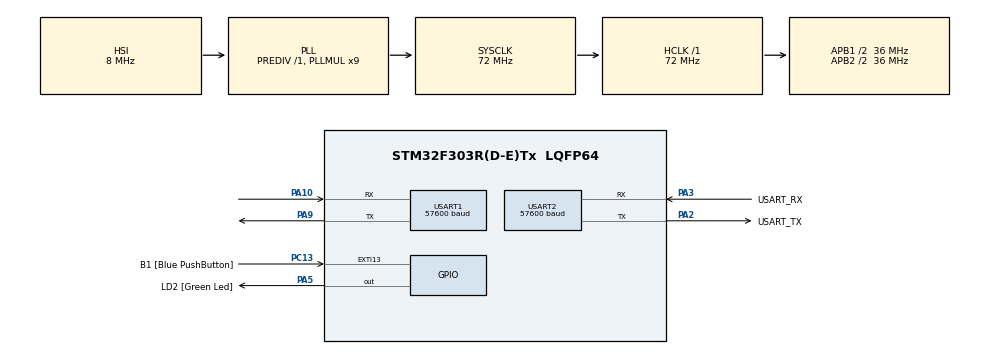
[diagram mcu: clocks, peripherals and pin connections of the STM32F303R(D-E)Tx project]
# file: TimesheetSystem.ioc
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Dma.Request0=USART2_RX
Dma.USART2_RX.0.Direction=DMA_PERIPH_TO_MEMORY
Dma.USART2_RX.0.Instance=DMA1_Channel6
Dma.USART2_RX.0.MemDataAlignment=DMA_MDATAALIGN_BYTE
Dma.USART2_RX.0.MemInc=DMA_MINC_ENABLE
Dma.USART2_RX.0.Mode=DMA_CIRCULAR
Dma.USART2_RX.0.PeriphDataAlignment=DMA_PDATAALIGN_BYTE
Dma.USART2_RX.0.PeriphInc=DMA_PINC_DISABLE
Dma.USART2_RX.0.Priority=DMA_PRIORITY_LOW
Mcu.Family=STM32F3
Mcu.Name=STM32F303R(D-E)Tx
Mcu.Package=LQFP64
NVIC.DMA1_Channel6_IRQn=true\:0\:0\:false
NVIC.PriorityGroup=NVIC_PRIORITYGROUP_0
NVIC.USART2_IRQn=true\:0\:0\:false
PA10.Mode=Asynchronous
PA10.Signal=USART1_RX
PA13.GPIO_Label=TMS
PA13.Mode=Trace-Asynchronous_SW
PA13.Signal=SYS_JTMS-SWDIO
PA14.GPIO_Label=TCK
PA14.Mode=Trace-Asynchronous_SW
PA14.Signal=SYS_JTCK-SWCLK
PA2.GPIO_Label=USART_TX
PA2.GPIO_Mode=GPIO_MODE_AF_PP
PA2.GPIO_PuPd=GPIO_NOPULL
PA2.GPIO_Speed=GPIO_SPEED_LOW
PA2.Mode=Asynchronous
PA2.Signal=USART2_TX
PA3.GPIO_Label=USART_RX
PA3.GPIO_Mode=GPIO_MODE_AF_PP
PA3.GPIO_PuPd=GPIO_NOPULL
PA3.GPIO_Speed=GPIO_SPEED_LOW
PA3.Mode=Asynchronous
PA3.Signal=USART2_RX
PA5.GPIO_Label=LD2 [Green Led]
PA5.GPIO_Mode=GPIO_MODE_OUTPUT_PP
PA5.GPIO_PuPd=GPIO_NOPULL
PA5.GPIO_Speed=GPIO_SPEED_LOW
PA5.Signal=GPIO_Output
PA9.Mode=Asynchronous
PA9.Signal=USART1_TX
PB3.GPIO_Label=SWO
PB3.Mode=Trace-Asynchronous_SW
PB3.Signal=SYS_JTDO-TRACESWO
PC13.GPIO_Label=B1 [Blue PushButton]
PC13.GPIO_ModeDefaultEXTI=GPIO_MODE_EVT_RISING
PC13.Signal=GPXTI13
PC14-OSC32_IN.Signal=RCC_OSC32_IN
PC15-OSC32_OUT.Signal=RCC_OSC32_OUT
PF0-OSC_IN.Signal=RCC_OSC_IN
PF1-OSC_OUT.Signal=RCC_OSC_OUT
ProjectManager.TargetToolchain=TrueSTUDIO
RCC.AHBFreq_Value=72000000
RCC.APB1CLKDivider=RCC_HCLK_DIV2
RCC.APB1Freq_Value=36000000
RCC.APB1TimFreq_Value=72000000
RCC.APB2CLKDivider=RCC_HCLK_DIV2
RCC.APB2Freq_Value=36000000
RCC.APB2TimFreq_Value=72000000
RCC.CortexFreq_Value=72000000
RCC.HCLKFreq_Value=72000000
RCC.HSE_VALUE=8000000
RCC.HSI_VALUE=8000000
RCC.LSE_VALUE=32768
RCC.PLLM=8
RCC.PLLMUL=RCC_PLL_MUL9
RCC.PLLN=336
RCC.PLLP=RCC_PLLP_DIV4
RCC.PLLQ=7
RCC.RCC_PLLsource_Clock_Source_FROM_HSE=RCC_HSE_PREDIV_DIV2
RCC.SYSCLKFreq_VALUE=72000000
RCC.SYSCLKSourceVirtual=RCC_SYSCLKSOURCE_PLLCLK
RCC.USBFreq_Value=72000000
USART1.BaudRate=57600
USART1.WordLength=UART_WORDLENGTH_8B
USART2.BaudRate=57600
USART2.WordLength=UART_WORDLENGTH_8B
board=NUCLEO-F303RE

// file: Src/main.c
/**
 ******************************************************************************
 * File Name          : main.c
 * Description        : Main program body
 ******************************************************************************
 *
 * COPYRIGHT(c) 2015 STMicroelectronics
 *
 * Redistribution and use in source and binary forms, with or without modification,
 * are permitted provided that the following conditions are met:
 *   1. Redistributions of source code must retain the above copyright notice,
 *      this list of conditions and the following disclaimer.
 *   2. Redistributions in binary form must reproduce the above copyright notice,
 *      this list of conditions and the following disclaimer in the documentation
 *      and/or other materials provided with the distribution.
 *   3. Neither the name of STMicroelectronics nor the names of its contributors
 *      may be used to endorse or promote products derived from this software
 *      without specific prior written permission.
 *
 * THIS SOFTWARE IS PROVIDED BY THE COPYRIGHT HOLDERS AND CONTRIBUTORS "AS IS"
 * AND ANY EXPRESS OR IMPLIED WARRANTIES, INCLUDING, BUT NOT LIMITED TO, THE
 * IMPLIED WARRANTIES OF MERCHANTABILITY AND FITNESS FOR A PARTICULAR PURPOSE ARE
 * DISCLAIMED. IN NO EVENT SHALL THE COPYRIGHT HOLDER OR CONTRIBUTORS BE LIABLE
 * FOR ANY DIRECT, INDIRECT, INCIDENTAL, SPECIAL, EXEMPLARY, OR CONSEQUENTIAL
 * DAMAGES (INCLUDING, BUT NOT LIMITED TO, PROCUREMENT OF SUBSTITUTE GOODS OR
 * SERVICES; LOSS OF USE, DATA, OR PROFITS; OR BUSINESS INTERRUPTION) HOWEVER
 * CAUSED AND ON ANY THEORY OF LIABILITY, WHETHER IN CONTRACT, STRICT LIABILITY,
 * OR TORT (INCLUDING NEGLIGENCE OR OTHERWISE) ARISING IN ANY WAY OUT OF THE USE
 * OF THIS SOFTWARE, EVEN IF ADVISED OF THE POSSIBILITY OF SUCH DAMAGE.
 *
 ******************************************************************************
 */
#include "stm32f3xx_hal.h"

/* USER CODE BEGIN Includes */
#include "string.h"
#include "fingerprint.h"
/* USER CODE END Includes */

UART_HandleTypeDef huart1;
UART_HandleTypeDef huart2;
DMA_HandleTypeDef hdma_usart2_rx;

/* USER CODE BEGIN PV */
/* Private variables ---------------------------------------------------------*/
#define DEBUG_UART_RX_BUFFER_SIZE 8     /* 2,4,8,16,32,64,128 or 256 bytes */
#define FINGER_UART_RX_BUFFER_SIZE 20     /* 2,4,8,16,32,64,128 or 256 bytes */
uint8_t debug_RxBuf[DEBUG_UART_RX_BUFFER_SIZE];
uint8_t finger_RxBuf[FINGER_UART_RX_BUFFER_SIZE];

typedef struct {
	uint8_t mask;
	uint8_t size;
	uint8_t tail;
	uint8_t *rxBuf;
	UART_HandleTypeDef *huart;
} UART_RING_BufferTypeDef;

UART_RING_BufferTypeDef debugUart;
UART_RING_BufferTypeDef fingerUart;

uint8_t msg[8] = { 'H', 'e', 'l', 'l', 'o', '!', '\r', '\n' };
uint16_t fingerID, matchScore, templateCount;
uint8_t switchType = 's';
uint16_t fingerEnrollId = 3;

/* USER CODE END PV */

void SystemClock_Config(void);
static void MX_GPIO_Init(void);
static void MX_DMA_Init(void);
static void MX_USART1_UART_Init(void);
static void MX_USART2_UART_Init(void);

/* USER CODE BEGIN PFP */
/* Private function prototypes -----------------------------------------------*/
void UART_RING_BUFFER_Init(void);
uint8_t UART_Aviable(UART_RING_BufferTypeDef *ringBuf);
unsigned char UART_Read(UART_RING_BufferTypeDef *ringBuf);
uint8_t getFingerprintIDez(void);
uint8_t getFingerprintEnroll(void);
uint8_t deleteFingerprint(uint8_t id);
uint8_t getFingerprintTmpCount(void);
uint8_t setFingerprintEmpty(void);
/* USER CODE END PFP */

int main(void) {

	/* MCU Configuration----------------------------------------------------------*/

	/* Reset of all peripherals, Initializes the Flash interface and the Systick. */
	HAL_Init();

	/* Configure the system clock */
	SystemClock_Config();

	/* Initialize all configured peripherals */
	MX_GPIO_Init();
	MX_DMA_Init();
	MX_USART1_UART_Init();
	MX_USART2_UART_Init();

	/* USER CODE BEGIN 2 */
	HAL_UART_Transmit_IT(&huart2, (uint8_t*) msg, 8);
	UART_RING_BUFFER_Init();
	//HAL_UART_Receive_DMA(&huart1,(uint8_t*)finger_RxBuf,FINGER_UART_RX_BUFFER_SIZE);
	HAL_UART_Receive_DMA(&huart2, (uint8_t*) debug_RxBuf,
	DEBUG_UART_RX_BUFFER_SIZE);

	if (FINGERPRINT_VerifyPassword() == HAL_OK) {
		char *debugMsg = "Found fingerprint sensor!";
		HAL_UART_Transmit_IT(&huart2, (uint8_t*) debugMsg, strlen(debugMsg));
	} else {
		char *debugMsg = "Did not find fingerprint sensor :(";
		HAL_UART_Transmit_IT(&huart2, (uint8_t*) debugMsg, strlen(debugMsg));
	}

	/* USER CODE END 2 */

	/* Infinite loop */
	while (1) {

		/* USER CODE BEGIN 3 */

		if (UART_Aviable(&debugUart) > 0) {
			msg[0] = UART_Read(&debugUart);
			switchType = msg[0];
			HAL_UART_Transmit(&huart2, msg, 1, 1000);
		}
		/* if(UART_Aviable(&fingerUart)>0){
		 msg[0] = UART_Read(&fingerUart);
		 HAL_UART_Transmit_IT(&huart2, msg, 1);
		 }
		 */
		switch (switchType) {
		case 's':
			getFingerprintIDez();
			break;
		case 'n':
			while (UART_Aviable(&debugUart) == 0);
			fingerEnrollId = UART_Read(&debugUart) - '0';
			getFingerprintEnroll();
			switchType = 's';
			break;
		case 'c':
			getFingerprintTmpCount();
			switchType = 's';
			break;
		case 'e':
			setFingerprintEmpty();
			switchType = 's';
			break;
		case 'd':
			while (UART_Aviable(&debugUart) == 0)
				;
			uint8_t deleteId = UART_Read(&debugUart) - '0';
			deleteFingerprint(deleteId);
			switchType = 's';
			break;
		default:
			break;
		}
		HAL_Delay(100);
	}
	/* USER CODE END 3 */

}

/** System Clock Configuration
 */
void SystemClock_Config(void) {

	RCC_OscInitTypeDef RCC_OscInitStruct;
	RCC_ClkInitTypeDef RCC_ClkInitStruct;
	RCC_PeriphCLKInitTypeDef PeriphClkInit;

	RCC_OscInitStruct.OscillatorType = RCC_OSCILLATORTYPE_HSI;
	RCC_OscInitStruct.HSIState = RCC_HSI_ON;
	RCC_OscInitStruct.HSICalibrationValue = 16;
	RCC_OscInitStruct.PLL.PLLState = RCC_PLL_ON;
	RCC_OscInitStruct.PLL.PLLSource = RCC_PLLSOURCE_HSI;
	RCC_OscInitStruct.PLL.PLLMUL = RCC_PLL_MUL9;
	RCC_OscInitStruct.PLL.PREDIV = RCC_PREDIV_DIV1;
	HAL_RCC_OscConfig(&RCC_OscInitStruct);

	RCC_ClkInitStruct.ClockType = RCC_CLOCKTYPE_SYSCLK | RCC_CLOCKTYPE_PCLK1
			| RCC_CLOCKTYPE_PCLK2;
	RCC_ClkInitStruct.SYSCLKSource = RCC_SYSCLKSOURCE_PLLCLK;
	RCC_ClkInitStruct.AHBCLKDivider = RCC_SYSCLK_DIV1;
	RCC_ClkInitStruct.APB1CLKDivider = RCC_HCLK_DIV2;
	RCC_ClkInitStruct.APB2CLKDivider = RCC_HCLK_DIV2;
	HAL_RCC_ClockConfig(&RCC_ClkInitStruct, FLASH_LATENCY_2);

	PeriphClkInit.PeriphClockSelection = RCC_PERIPHCLK_USART1
			| RCC_PERIPHCLK_USART2;
	PeriphClkInit.Usart1ClockSelection = RCC_USART1CLKSOURCE_PCLK2;
	PeriphClkInit.Usart2ClockSelection = RCC_USART2CLKSOURCE_PCLK1;
	HAL_RCCEx_PeriphCLKConfig(&PeriphClkInit);

	HAL_SYSTICK_Config(HAL_RCC_GetHCLKFreq() / 1000);

	HAL_SYSTICK_CLKSourceConfig(SYSTICK_CLKSOURCE_HCLK);

	/* SysTick_IRQn interrupt configuration */
	HAL_NVIC_SetPriority(SysTick_IRQn, 0, 0);
}

/* USART1 init function */
void MX_USART1_UART_Init(void) {

	huart1.Instance = USART1;
	huart1.Init.BaudRate = 57600;
	huart1.Init.WordLength = UART_WORDLENGTH_8B;
	huart1.Init.StopBits = UART_STOPBITS_1;
	huart1.Init.Parity = UART_PARITY_NONE;
	huart1.Init.Mode = UART_MODE_TX_RX;
	huart1.Init.HwFlowCtl = UART_HWCONTROL_NONE;
	huart1.Init.OverSampling = UART_OVERSAMPLING_16;
	huart1.Init.OneBitSampling = UART_ONEBIT_SAMPLING_DISABLED;
	huart1.AdvancedInit.AdvFeatureInit = UART_ADVFEATURE_NO_INIT;
	HAL_UART_Init(&huart1);

}

/* USART2 init function */
void MX_USART2_UART_Init(void) {

	huart2.Instance = USART2;
	huart2.Init.BaudRate = 57600;
	huart2.Init.WordLength = UART_WORDLENGTH_8B;
	huart2.Init.StopBits = UART_STOPBITS_1;
	huart2.Init.Parity = UART_PARITY_NONE;
	huart2.Init.Mode = UART_MODE_TX_RX;
	huart2.Init.HwFlowCtl = UART_HWCONTROL_NONE;
	huart2.Init.OverSampling = UART_OVERSAMPLING_16;
	huart2.Init.OneBitSampling = UART_ONEBIT_SAMPLING_DISABLED;
	huart2.AdvancedInit.AdvFeatureInit = UART_ADVFEATURE_NO_INIT;
	HAL_UART_Init(&huart2);

}

void MX_DMA_Init(void) {
	/* DMA controller clock enable */
	__DMA1_CLK_ENABLE()
	;

	/* DMA interrupt init */
	HAL_NVIC_SetPriority(DMA1_Channel6_IRQn, 0, 0);
	HAL_NVIC_EnableIRQ(DMA1_Channel6_IRQn);

}

/** Configure pins as
 * Analog
 * Input
 * Output
 * EVENT_OUT
 * EXTI
 */
void MX_GPIO_Init(void) {

	GPIO_InitTypeDef GPIO_InitStruct;

	/* GPIO Ports Clock Enable */
	__GPIOC_CLK_ENABLE()
	;
	__GPIOF_CLK_ENABLE()
	;
	__GPIOA_CLK_ENABLE()
	;
	__GPIOB_CLK_ENABLE()
	;

	/*Configure GPIO pin : B1_Pin */
	GPIO_InitStruct.Pin = B1_Pin;
	GPIO_InitStruct.Mode = GPIO_MODE_EVT_RISING;
	GPIO_InitStruct.Pull = GPIO_NOPULL;
	HAL_GPIO_Init(B1_GPIO_Port, &GPIO_InitStruct);

	/*Configure GPIO pin : LD2_Pin */
	GPIO_InitStruct.Pin = LD2_Pin;
	GPIO_InitStruct.Mode = GPIO_MODE_OUTPUT_PP;
	GPIO_InitStruct.Pull = GPIO_NOPULL;
	GPIO_InitStruct.Speed = GPIO_SPEED_LOW;
	HAL_GPIO_Init(LD2_GPIO_Port, &GPIO_InitStruct);

}

/* USER CODE BEGIN 4 */
void UART_RING_BUFFER_Init(void) {
	debugUart.huart = &huart2;
	debugUart.mask = DEBUG_UART_RX_BUFFER_SIZE - 1;
	debugUart.rxBuf = debug_RxBuf;
	debugUart.tail = 0;
	debugUart.size = DEBUG_UART_RX_BUFFER_SIZE;
	fingerUart.huart = &huart1;
	fingerUart.mask = FINGER_UART_RX_BUFFER_SIZE - 1;
	fingerUart.rxBuf = finger_RxBuf;
	fingerUart.tail = 0;
	fingerUart.size = FINGER_UART_RX_BUFFER_SIZE;
}

uint8_t UART_Aviable(UART_RING_BufferTypeDef *ringBuf) {
	return (ringBuf->tail
			!= (ringBuf->size - ringBuf->huart->hdmarx->Instance->CNDTR));
}

unsigned char UART_Read(UART_RING_BufferTypeDef *ringBuf) {
	unsigned char tmptail;

	if ((ringBuf->size - ringBuf->huart->hdmarx->Instance->CNDTR)
			== ringBuf->tail) /* hooson bol -1 -g butsaana */
		return -1;
	tmptail = ringBuf->tail;
	ringBuf->tail = (ringBuf->tail + 1) & ringBuf->mask; // index aa tootsooloh;

	return ringBuf->rxBuf[tmptail]; /* Return data */
}
void HAL_UART_RxCpltCallback(UART_HandleTypeDef *huart) {
	HAL_GPIO_TogglePin(LD2_GPIO_Port, LD2_Pin);
}
uint8_t getFingerprintIDez() {
	char temp[50];
	uint8_t p = FINGERPRINT_GetImage();
	switch (p) {
	case FINGERPRINT_OK:
		sprintf(temp, "Image taken\r\n");
		HAL_UART_Transmit(&huart2, (uint8_t*) temp, strlen(temp), 1000);
		break;
	case FINGERPRINT_NOFINGER:
		//sprintf(temp, "No finger detected\r\n");
		sprintf(temp, ".");
		HAL_UART_Transmit(&huart2, (uint8_t*) temp, strlen(temp), 1000);
		return p;
	case FINGERPRINT_PACKETRECIEVEERR:
		sprintf(temp, "Communication error\r\n");
		HAL_UART_Transmit(&huart2, (uint8_t*) temp, strlen(temp), 1000);
		return p;
	case FINGERPRINT_IMAGEFAIL:
		sprintf(temp, "Imaging error\r\n");
		HAL_UART_Transmit(&huart2, (uint8_t*) temp, strlen(temp), 1000);
		return p;
	default:
		sprintf(temp, "Unknown error\r\n");
		HAL_UART_Transmit(&huart2, (uint8_t*) temp, strlen(temp), 1000);
		return p;
	}

	p = FINGERPRINT_GetChar(1);
	switch (p) {
	case FINGERPRINT_OK:
		sprintf(temp, "Image converted\r\n");
		HAL_UART_Transmit(&huart2, (uint8_t*) temp, strlen(temp), 1000);
		break;
	case FINGERPRINT_IMAGEMESS:
		sprintf(temp, "Image too messy\r\n");
		HAL_UART_Transmit(&huart2, (uint8_t*) temp, strlen(temp), 1000);
		return p;
	case FINGERPRINT_PACKETRECIEVEERR:
		sprintf(temp, "Communication error\r\n");
		HAL_UART_Transmit(&huart2, (uint8_t*) temp, strlen(temp), 1000);
		return p;
	case FINGERPRINT_FEATUREFAIL:
		sprintf(temp, "Could not find fingerprint features\r\n");
		HAL_UART_Transmit(&huart2, (uint8_t*) temp, strlen(temp), 1000);
		return p;
	case FINGERPRINT_INVALIDIMAGE:
		sprintf(temp, "Could not find fingerprint features\r\n");
		HAL_UART_Transmit(&huart2, (uint8_t*) temp, strlen(temp), 1000);
		return p;
	default:
		sprintf(temp, "Unknown error\r\n");
		HAL_UART_Transmit(&huart2, (uint8_t*) temp, strlen(temp), 1000);
		return p;
	}

	p = FINGERPRINT_Search();
	if (p == FINGERPRINT_OK) {
		sprintf(temp, "Found a print match!\r\n");
		HAL_UART_Transmit(&huart2, (uint8_t*) temp, strlen(temp), 1000);
	} else if (p == FINGERPRINT_PACKETRECIEVEERR) {
		sprintf(temp, "Communication error\r\n");
		HAL_UART_Transmit(&huart2, (uint8_t*) temp, strlen(temp), 1000);
		return p;
	} else if (p == FINGERPRINT_NOTFOUND) {
		sprintf(temp, "Did not find a match\r\n");
		HAL_UART_Transmit(&huart2, (uint8_t*) temp, strlen(temp), 1000);
		return p;
	} else {
		sprintf(temp, "Unknown error\r\n");
		HAL_UART_Transmit(&huart2, (uint8_t*) temp, strlen(temp), 1000);
		return p;
	}

	// found a match!
	sprintf(temp, "Found ID # %d with matchScore of %d \r\n", fingerID,
			matchScore);
	HAL_UART_Transmit(&huart2, (uint8_t*) temp, strlen(temp), 1000);
	return 1;
}

uint8_t getFingerprintEnroll() {
	uint8_t p = -1;
	char temp[50];
	sprintf(temp, "Waiting for valid finger to enroll as #%d \r\n",
			fingerEnrollId);
	HAL_UART_Transmit(&huart2, (uint8_t*) temp, strlen(temp), 1000);
	while (p != FINGERPRINT_OK) {
		p = FINGERPRINT_GetImage();
		switch (p) {
		case FINGERPRINT_OK:
			sprintf(temp, "Image taken\r\n");
			HAL_UART_Transmit(&huart2, (uint8_t*) temp, strlen(temp), 1000);
			break;
		case FINGERPRINT_NOFINGER:
			sprintf(temp, ".");
			HAL_UART_Transmit(&huart2, (uint8_t*) temp, strlen(temp), 1000);
			break;
		case FINGERPRINT_PACKETRECIEVEERR:
			sprintf(temp, "Communication error\r\n");
			HAL_UART_Transmit(&huart2, (uint8_t*) temp, strlen(temp), 1000);
			break;
		case FINGERPRINT_IMAGEFAIL:
			sprintf(temp, "Imaging error\r\n");
			HAL_UART_Transmit(&huart2, (uint8_t*) temp, strlen(temp), 1000);
			break;
		default:
			sprintf(temp, "Unknown error\r\n");
			HAL_UART_Transmit(&huart2, (uint8_t*) temp, strlen(temp), 1000);
			break;
		}
	}

	// OK success!

	p = FINGERPRINT_GetChar(1);
	switch (p) {
	case FINGERPRINT_OK:
		sprintf(temp, "Image converted\r\n");
		HAL_UART_Transmit(&huart2, (uint8_t*) temp, strlen(temp), 1000);
		break;
	case FINGERPRINT_IMAGEMESS:
		sprintf(temp, "Image too messy\r\n");
		HAL_UART_Transmit(&huart2, (uint8_t*) temp, strlen(temp), 1000);
		return p;
	case FINGERPRINT_PACKETRECIEVEERR:
		sprintf(temp, "Communication error\r\n");
		HAL_UART_Transmit(&huart2, (uint8_t*) temp, strlen(temp), 1000);
		return p;
	case FINGERPRINT_FEATUREFAIL:
		sprintf(temp, "Could not find fingerprint features\r\n");
		HAL_UART_Transmit(&huart2, (uint8_t*) temp, strlen(temp), 1000);
		return p;
	case FINGERPRINT_INVALIDIMAGE:
		sprintf(temp, "Could not find fingerprint features\r\n");
		HAL_UART_Transmit(&huart2, (uint8_t*) temp, strlen(temp), 1000);
		return p;
	default:
		sprintf(temp, "Unknown error\r\n");
		HAL_UART_Transmit(&huart2, (uint8_t*) temp, strlen(temp), 1000);
		return p;
	}
	sprintf(temp, "Remove finger\r\n");
	HAL_UART_Transmit(&huart2, (uint8_t*) temp, strlen(temp), 1000);
	HAL_Delay(2000);
	p = 0;
	while (p != FINGERPRINT_NOFINGER) {
		p = FINGERPRINT_GetImage();
	}
	sprintf(temp, "ID %d \r\n", fingerEnrollId);
	HAL_UART_Transmit(&huart2, (uint8_t*) temp, strlen(temp), 1000);
	p = -1;
	sprintf(temp, "Place same finger again\r\n");
	HAL_UART_Transmit(&huart2, (uint8_t*) temp, strlen(temp), 1000);
	while (p != FINGERPRINT_OK) {
		p = FINGERPRINT_GetImage();
		switch (p) {
		case FINGERPRINT_OK:
			sprintf(temp, "Image taken\r\n");
			HAL_UART_Transmit(&huart2, (uint8_t*) temp, strlen(temp), 1000);
			break;
		case FINGERPRINT_NOFINGER:
			sprintf(temp, ".");
			HAL_UART_Transmit(&huart2, (uint8_t*) temp, strlen(temp), 1000);
			break;
		case FINGERPRINT_PACKETRECIEVEERR:
			sprintf(temp, "Communication error\r\n");
			HAL_UART_Transmit(&huart2, (uint8_t*) temp, strlen(temp), 1000);
			break;
		case FINGERPRINT_IMAGEFAIL:
			sprintf(temp, "Imaging error\r\n");
			HAL_UART_Transmit(&huart2, (uint8_t*) temp, strlen(temp), 1000);
			break;
		default:
			sprintf(temp, "Unknown error\r\n");
			HAL_UART_Transmit(&huart2, (uint8_t*) temp, strlen(temp), 1000);
			break;
		}
	}

	// OK success!

	p = FINGERPRINT_GetChar(2);
	switch (p) {
	case FINGERPRINT_OK:
		sprintf(temp, "Image converted\r\n");
		HAL_UART_Transmit(&huart2, (uint8_t*) temp, strlen(temp), 1000);
		break;
	case FINGERPRINT_IMAGEMESS:
		sprintf(temp, "Image too messy\r\n");
		HAL_UART_Transmit(&huart2, (uint8_t*) temp, strlen(temp), 1000);
		return p;
	case FINGERPRINT_PACKETRECIEVEERR:
		sprintf(temp, "Communication error\r\n");
		HAL_UART_Transmit(&huart2, (uint8_t*) temp, strlen(temp), 1000);
		return p;
	case FINGERPRINT_FEATUREFAIL:
		sprintf(temp, "Could not find fingerprint features\r\n");
		HAL_UART_Transmit(&huart2, (uint8_t*) temp, strlen(temp), 1000);
		return p;
	case FINGERPRINT_INVALIDIMAGE:
		sprintf(temp, "Could not find fingerprint features\r\n");
		HAL_UART_Transmit(&huart2, (uint8_t*) temp, strlen(temp), 1000);
		return p;
	default:
		sprintf(temp, "Unknown error\r\n");
		HAL_UART_Transmit(&huart2, (uint8_t*) temp, strlen(temp), 1000);
		return p;
	}

	// OK converted!
	sprintf(temp, "Creating model for #%d\r\n", fingerEnrollId);
	HAL_UART_Transmit(&huart2, (uint8_t*) temp, strlen(temp), 1000);

	p = FINGERPRINT_CreateModel();
	if (p == FINGERPRINT_OK) {
		sprintf(temp, "Prints matched!\r\n");
		HAL_UART_Transmit(&huart2, (uint8_t*) temp, strlen(temp), 1000);
	} else if (p == FINGERPRINT_PACKETRECIEVEERR) {

		sprintf(temp, "Communication error\r\n");
		HAL_UART_Transmit(&huart2, (uint8_t*) temp, strlen(temp), 1000);
		return p;
	} else if (p == FINGERPRINT_ENROLLMISMATCH) {

		sprintf(temp, "Fingerprints did not match\r\n");
		HAL_UART_Transmit(&huart2, (uint8_t*) temp, strlen(temp), 1000);
		return p;
	} else {
		sprintf(temp, "Unknown error\r\n");
		HAL_UART_Transmit(&huart2, (uint8_t*) temp, strlen(temp), 1000);
		return p;
	}
	sprintf(temp, "ID %d \r\n", fingerEnrollId);
	HAL_UART_Transmit(&huart2, (uint8_t*) temp, strlen(temp), 1000);
	p = FINGERPRINT_StoreModel(fingerEnrollId);
	if (p == FINGERPRINT_OK) {
		sprintf(temp, "Stored!\r\n");
		HAL_UART_Transmit(&huart2, (uint8_t*) temp, strlen(temp), 1000);
	} else if (p == FINGERPRINT_PACKETRECIEVEERR) {
		sprintf(temp, "Communication error\r\n");
		HAL_UART_Transmit(&huart2, (uint8_t*) temp, strlen(temp), 1000);
		return p;
	} else if (p == FINGERPRINT_BADLOCATION) {
		sprintf(temp, "Could not store in that location\r\n");
		HAL_UART_Transmit(&huart2, (uint8_t*) temp, strlen(temp), 1000);
		return p;
	} else if (p == FINGERPRINT_FLASHERR) {
		sprintf(temp, "Error writing to flash\r\n");
		HAL_UART_Transmit(&huart2, (uint8_t*) temp, strlen(temp), 1000);
		return p;
	} else {
		sprintf(temp, "Unknown error\r\n");
		HAL_UART_Transmit(&huart2, (uint8_t*) temp, strlen(temp), 1000);
		return p;
	}
	return p;
}

uint8_t deleteFingerprint(uint8_t id) {
	char temp[50];
	sprintf(temp, "delete PageID %d\r\n", id);
	HAL_UART_Transmit(&huart2, (uint8_t*) temp, strlen(temp), 1000);
	uint8_t p = FINGERPRINT_DeleteModel(id);
	switch (p) {
	case FINGERPRINT_OK:
		sprintf(temp, "delete success\r\n");
		HAL_UART_Transmit(&huart2, (uint8_t*) temp, strlen(temp), 1000);
		break;
	case FINGERPRINT_PACKETRECIEVEERR:
		sprintf(temp, "Communication error\r\n");
		HAL_UART_Transmit(&huart2, (uint8_t*) temp, strlen(temp), 1000);
		break;
	case FINGERPRINT_DELETEFAIL:
		sprintf(temp, "faile to delete templates\r\n");
		HAL_UART_Transmit(&huart2, (uint8_t*) temp, strlen(temp), 1000);
		break;
	default:
		sprintf(temp, "Unknown error\r\n");
		HAL_UART_Transmit(&huart2, (uint8_t*) temp, strlen(temp), 1000);
		break;
	}
	return p;
}
uint8_t getFingerprintTmpCount() {
	char temp[50];
	sprintf(temp, "valid template \r\n");
	HAL_UART_Transmit(&huart2, (uint8_t*) temp, strlen(temp), 1000);
	uint8_t p = FINGERPRINT_GetTemplateCount();
	switch (p) {
	case FINGERPRINT_OK:
		sprintf(temp, "Count: %d \r\n", templateCount);
		HAL_UART_Transmit(&huart2, (uint8_t*) temp, strlen(temp), 1000);
		break;
	case FINGERPRINT_PACKETRECIEVEERR:
		sprintf(temp, "Communication error\r\n");
		HAL_UART_Transmit(&huart2, (uint8_t*) temp, strlen(temp), 1000);
		break;

	default:
		sprintf(temp, "Unknown error\r\n");
		HAL_UART_Transmit(&huart2, (uint8_t*) temp, strlen(temp), 1000);
		break;
	}
	return p;
}
uint8_t setFingerprintEmpty() {
	char temp[50];
	sprintf(temp, "empty template \r\n");
	HAL_UART_Transmit(&huart2, (uint8_t*) temp, strlen(temp), 1000);
	uint8_t p = FINGERPRINT_EmptyDatabase();
	switch (p) {
	case FINGERPRINT_OK:
		sprintf(temp, "empty success \r\n");
		HAL_UART_Transmit(&huart2, (uint8_t*) temp, strlen(temp), 1000);
		break;
	case FINGERPRINT_PACKETRECIEVEERR:
		sprintf(temp, "Communication error\r\n");
		HAL_UART_Transmit(&huart2, (uint8_t*) temp, strlen(temp), 1000);
		break;
	case FINGERPRINT_DBCLEARFAIL:
		sprintf(temp, "fail to clear finger library \r\n");
		HAL_UART_Transmit(&huart2, (uint8_t*) temp, strlen(temp), 1000);
		break;
	default:
		sprintf(temp, "Unknown error\r\n");
		HAL_UART_Transmit(&huart2, (uint8_t*) temp, strlen(temp), 1000);
		break;
	}
	return p;
}
/* USER CODE END 4 */

/************************ (C) COPYRIGHT STMicroelectronics *****END OF FILE****/
